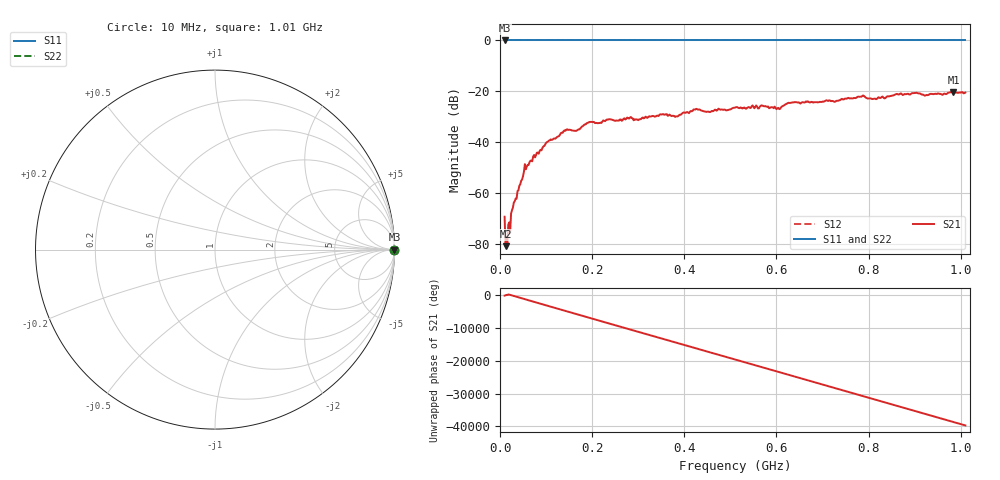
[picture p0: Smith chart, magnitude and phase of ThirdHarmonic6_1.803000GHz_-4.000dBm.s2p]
! 8/16/2025 9:49:30 PM
! C:\ANRITSUVNA\TEMP\TEMP.S2P
! CHANNEL.1
! TR.MEASUREMENT
! RAW.DATA
! RF.CORRECTION.OFF
! AVERAGING.OFF
! IF.BANDWIDTH: 5KHZ
! SWEEPTYPE:  FREQ.SWEEP(Linear)
! Reference Plane Port Info
! PORT:  PORT1  PORT2
! DISTANCE:  0  m  0  m
! TIME:  0  s  0  s
! PHASE.OFFSET:  0  deg.  0  deg.
! LOSS:  0  dB  0  dB
! REF.LOSS:  0  dB  0  dB
! REF.FREQ:  0  Hz  0  Hz
! Power Info
! POWER:  -20  dBm  -20  dBm
! EFF.POWER:  -20  dBm  -20  dBm
! SOURCE.ATTEN:  0  dB  0  dB
! TEST.ATTEN:  0  dB  0  dB
# GHZ S RI R 50.0
! FREQ.GHZ  S11RE  S11IM  S21RE  S21IM  S12RE  S12IM  S22RE  S22IM
!; PortSelection: Port_12
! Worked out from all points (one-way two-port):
!   501 points, 10 MHz to 1.01 GHz, reference 50 ohm
!   highest |S21| = -20.27 dB at 984 MHz (marker M1); lowest = -81.0 dB at 12 MHz (marker M2)
!   lowest |S11| = 0.0 dB at 10 MHz (marker M3)
!   |S11| at or under -10 dB: nowhere
!   |S22| runs from 0.0 to 0.0 dB; largest |S21 - S12| = 1.1
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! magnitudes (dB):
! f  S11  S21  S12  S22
! 10 MHz  0.0  -69.4  0.0  0.0
! 12 MHz  0.0  -81.0  0.0  0.0
! 18 MHz  0.0  -72.6  0.0  0.0
! 28 MHz  0.0  -65.8  0.0  0.0
! 50 MHz  0.0  -53.5  0.0  0.0
! 58 MHz  0.0  -49.8  0.0  0.0
! 106 MHz  0.0  -39.5  0.0  0.0
! 142 MHz  0.0  -35.6  0.0  0.0
! 164 MHz  0.0  -35.6  0.0  0.0
! 178 MHz  0.0  -33.9  0.0  0.0
! 196 MHz  0.0  -32.1  0.0  0.0
! 344 MHz  0.0  -29.7  0.0  0.0
! 382 MHz  0.0  -29.9  0.0  0.0
! 424 MHz  0.0  -27.2  0.0  0.0
! 452 MHz  0.0  -28.0  0.0  0.0
! 510 MHz  0.0  -26.5  0.0  0.0
! 604 MHz  0.0  -26.6  0.0  0.0
! 628 MHz  0.0  -24.6  0.0  0.0
! 678 MHz  0.0  -24.3  0.0  0.0
! 844 MHz  0.0  -22.1  0.0  0.0
! 984 MHz  0.0  -20.3  0.0  0.0
! 1.01 GHz  0.0  -20.5  0.0  0.0
